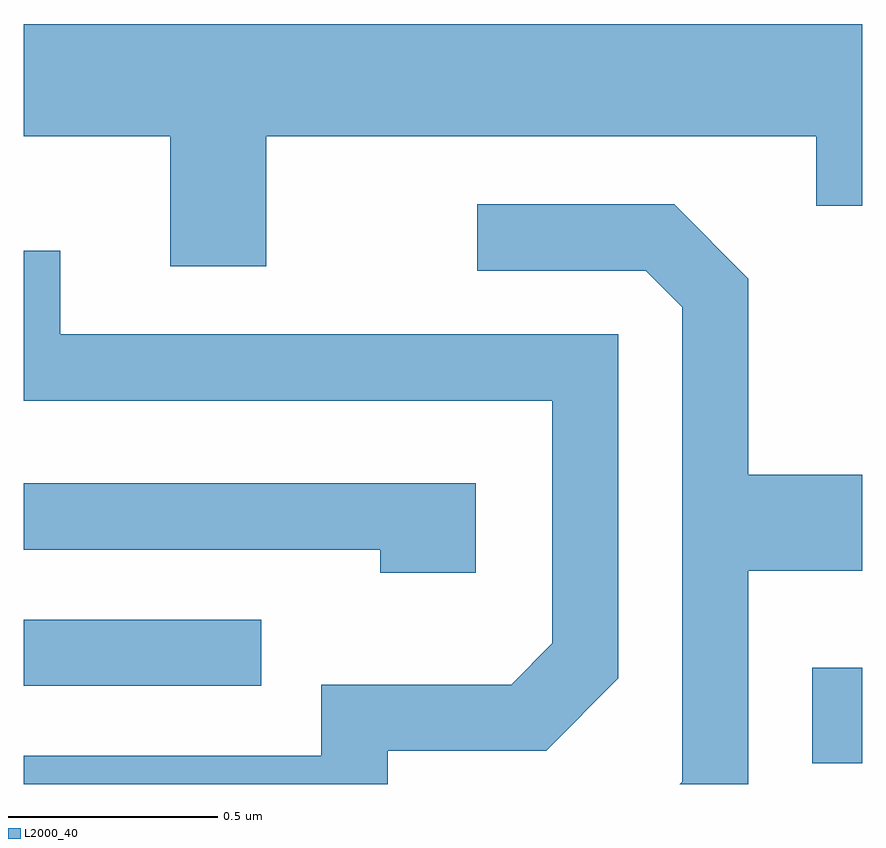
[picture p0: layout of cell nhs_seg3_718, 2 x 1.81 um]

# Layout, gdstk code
import gdstk
lib = gdstk.Library(unit=1e-6, precision=1e-09)
def R(c, l, rs):  # rectangles x0, y0, x1, y1
    for r in rs: c.add(gdstk.rectangle(r[:2], r[2:], *l))
def P(c, l, *ps):  # polygons
    for p in ps: c.add(gdstk.Polygon(p, *l))
L2000_40 = (2000, 40)

nhs_seg3_718 = lib.new_cell('nhs_seg3_718')
R(nhs_seg3_718, L2000_40, [(192.491,1148.941,192.611,1149.169), (190.611,1149.126,191.178,1149.284)])
P(nhs_seg3_718, L2000_40, [(191.189,1150.436),(192.501,1150.436),(192.501,1150.271),(192.611,1150.271),(192.611,1150.704),(190.611,1150.704),(190.611,1150.436),(190.961,1150.436),(190.961,1150.126),(191.189,1150.126)],
  [(192.339,1149.401),(192.611,1149.401),(192.611,1149.629),(192.339,1149.629),(192.339,1150.097),(192.162,1150.274),(191.693,1150.274),(191.693,1150.116),(192.094,1150.116),(192.181,1150.029),(192.181,1148.897),(192.176,1148.892),(192.339,1148.892)],
  [(191.479,1148.971),(191.857,1148.971),(192.029,1149.144),(192.029,1149.964),(190.699,1149.964),(190.699,1150.163),(190.611,1150.163),(190.611,1149.806),(191.871,1149.806),(191.871,1149.227),(191.774,1149.129),(191.321,1149.129),(191.321,1148.959),(190.611,1148.959),(190.611,1148.892),(191.479,1148.892)],
  [(191.689,1149.609),(190.611,1149.609),(190.611,1149.451),(191.461,1149.451),(191.461,1149.396),(191.689,1149.396)])

lib.write_gds('nhs_seg3_718.gds')
